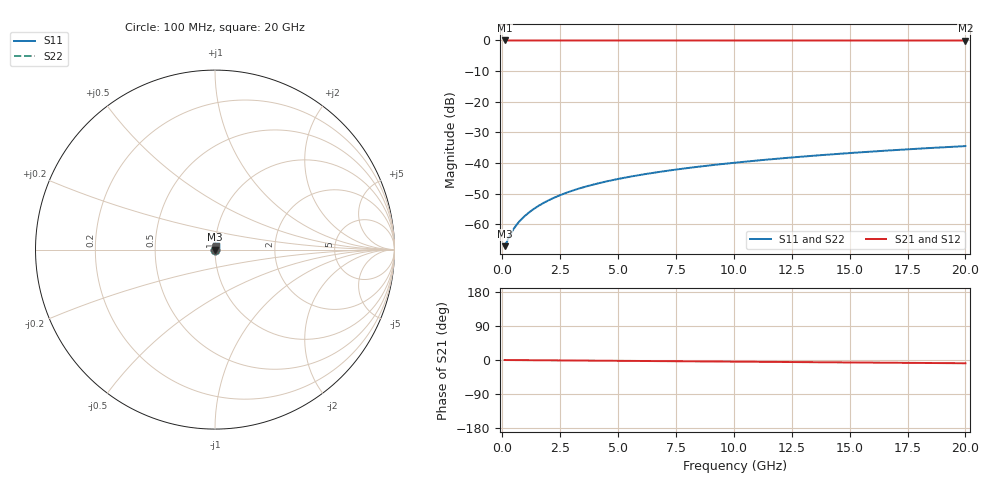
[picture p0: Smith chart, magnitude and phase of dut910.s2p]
! Touchstone file exported from HFSS 2026.1.0
!  File:  C:/ffzhzh/LocalFiles/Ansys_Project_Files/temp_train_TSV_910_1783186335_51560.aedt
!  Generated:  01:34:04 AM Jul  5, 2026
!  Design:  TSV
!  Project:  temp_train_TSV_910_1783186335_51560
! Variables:
!  h_bsmrdl = 2um
!  h_ox = 20um
!  h_rdl = 5um
!  h_sub = 91.02um
!  h_tmrdl = 5um
!  h_tsv = 91.02um
!  h_via = 3um
!  l_bsmrdl = 300um
!  l_sub = 410.52um
!  l_tmrdl = 200um
!  m_sub = 200um
!  pitch = 25.4um
!  r_tsv = 5.26um
!  s_tmrdl = 10um
!  w_bsmrdl = 18um
!  w_sub = 500um
!  w_tmrdl = 12um
!  x_tsv_center1 = 206um
!  x_tsv_center2 = 524um
!  x_tsv_center3 = 736um
!  x_tsv_center4 = 1054um
!  x_tsv_center5 = 1266um
!  x_tsv_center6 = 1584um
# GHz S MA R 50.000000
! Terminal data exported
! Port[1] = TSV1_1_T1
! Port[2] = TSV1_1_T2
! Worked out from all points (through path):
!   200 points, 100 MHz to 20 GHz, reference 50 ohm
!   highest |S21| = 0.00 dB at 100 MHz (marker M1); lowest = 0.0 dB at 20 GHz (marker M2)
!   group delay of S21, straight-line fit = 1.19 ps
!   lowest |S11| = -67.2 dB at 100 MHz (marker M3), VSWR 1.00, Z = 50 + j0.015 ohm
!   |S11| at or under -10 dB: start of sweep to end of sweep
!   |S22| runs from -67.2 to -34.5 dB; largest |S21 - S12| = 5e-15
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0.1  0.000439 19.9  0.9996 -0.0  0.9996 -0.0  0.000439 19.9
! Gamma 0 0 0 0
! Port Impedance 50 0 50 0
0.4  0.0007368 49.7  0.9995 -0.2  0.9995 -0.2  0.0007368 49.7
0.5  0.0008499 53.8  0.9995 -0.2  0.9995 -0.2  0.0008499 53.8
0.6  0.0009614 56.7  0.9995 -0.3  0.9995 -0.3  0.0009614 56.7
0.7  0.001071 59.1  0.9995 -0.3  0.9995 -0.3  0.001071 59.1
0.9  0.001287 62.6  0.9994 -0.4  0.9994 -0.4  0.001287 62.6
1.2  0.001607 66.2  0.9994 -0.5  0.9994 -0.5  0.001607 66.2
1.4  0.001821 68.0  0.9993 -0.6  0.9993 -0.6  0.001821 68.0
1.7  0.002141 69.9  0.9993 -0.8  0.9993 -0.8  0.002141 69.9
2.2  0.002672 72.0  0.9992 -1.0  0.9992 -1.0  0.002672 72.0
2.8  0.003301 73.4  0.9991 -1.2  0.9991 -1.2  0.003301 73.4
3.5  0.004016 74.2  0.999 -1.5  0.999 -1.5  0.004016 74.2
4.2  0.004712 74.7  0.9989 -1.8  0.9989 -1.8  0.004712 74.7
5  0.005485 75.1  0.9988 -2.2  0.9988 -2.2  0.005485 75.1
5.9  0.006335 75.3  0.9987 -2.6  0.9987 -2.6  0.006335 75.3
6.8  0.007169 75.5  0.9985 -3.0  0.9985 -3.0  0.007169 75.5
8.3  0.008539 75.7  0.9984 -3.6  0.9984 -3.6  0.008539 75.7
10.1  0.01016 75.8  0.9982 -4.4  0.9982 -4.4  0.01016 75.8
11.7  0.0116 75.7  0.9981 -5.1  0.9981 -5.1  0.0116 75.7
13.4  0.01311 75.5  0.9979 -5.8  0.9979 -5.8  0.01311 75.5
16.7  0.01602 74.9  0.9977 -7.2  0.9977 -7.2  0.01602 74.9
20  0.01887 73.9  0.9974 -8.6  0.9974 -8.6  0.01887 73.9
